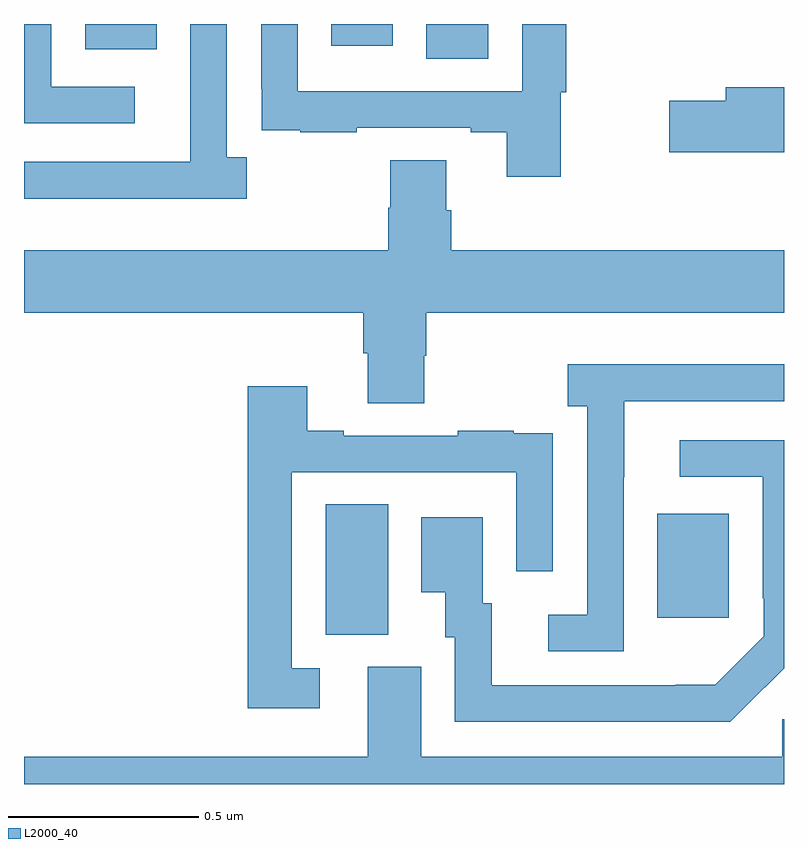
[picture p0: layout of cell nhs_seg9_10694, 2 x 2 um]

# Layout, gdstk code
import gdstk
lib = gdstk.Library(unit=1e-6, precision=1e-09)
def R(c, l, rs):  # rectangles x0, y0, x1, y1
    for r in rs: c.add(gdstk.rectangle(r[:2], r[2:], *l))
def P(c, l, *ps):  # polygons
    for p in ps: c.add(gdstk.Polygon(p, *l))
L2000_40 = (2000, 40)

nhs_seg9_10694 = lib.new_cell('nhs_seg9_10694')
R(nhs_seg9_10694, L2000_40, [(246.794,1208.893,246.958,1209.236), (247.667,1208.937,247.855,1209.211), (247.058,1210.408,247.222,1210.5), (246.161,1210.433,246.349,1210.5), (246.809,1210.443,246.97,1210.5)])
P(nhs_seg9_10694, L2000_40, [(246.292,1210.335),(246.072,1210.335),(246.072,1210.5),(246,1210.5),(246,1210.239),(246.292,1210.239)],
  [(246.586,1210.15),(246.534,1210.15),(246.534,1210.5),(246.438,1210.5),(246.438,1210.337),(246.437,1210.337),(246.437,1210.137),(246,1210.137),(246,1210.04),(246.586,1210.04)],
  [(247.412,1210.32),(247.427,1210.32),(247.427,1210.5),(247.311,1210.5),(247.311,1210.323),(246.72,1210.323),(246.72,1210.5),(246.624,1210.5),(246.624,1210.33),(246.625,1210.33),(246.625,1210.221),(246.727,1210.221),(246.727,1210.215),(246.875,1210.215),(246.875,1210.227),(247.175,1210.227),(247.175,1210.215),(247.271,1210.215),(247.271,1210.098),(247.412,1210.098)],
  [(248,1210.334),(247.847,1210.334),(247.847,1210.298),(247.698,1210.298),(247.698,1210.163),(248,1210.163)],
  [(247.053,1209.627),(247.058,1209.627),(247.058,1209.74),(248,1209.74),(248,1209.904),(247.124,1209.904),(247.124,1210.01),(247.111,1210.01),(247.111,1210.142),(246.964,1210.142),(246.964,1210.017),(246.959,1210.017),(246.959,1209.904),(246,1209.904),(246,1209.74),(246.893,1209.74),(246.893,1209.634),(246.905,1209.634),(246.905,1209.502),(247.053,1209.502)],
  [(247.578,1209.307),(247.579,1209.307),(247.579,1209.507),(248,1209.507),(248,1209.604),(247.431,1209.604),(247.431,1209.494),(247.482,1209.494),(247.482,1208.946),(247.38,1208.946),(247.38,1208.85),(247.578,1208.85)],
  [(246.778,1208.805),(246.705,1208.805),(246.705,1209.321),(247.296,1209.321),(247.296,1209.06),(247.392,1209.06),(247.392,1209.314),(247.391,1209.314),(247.391,1209.423),(247.289,1209.423),(247.289,1209.43),(247.141,1209.43),(247.141,1209.417),(246.841,1209.417),(246.841,1209.43),(246.745,1209.43),(246.745,1209.547),(246.589,1209.547),(246.589,1208.7),(246.778,1208.7)],
  [(247.949,1208.755),(247.95,1208.754),(248,1208.804),(248,1209.405),(247.725,1209.405),(247.725,1209.309),(247.944,1209.309),(247.944,1208.989),(247.947,1208.989),(247.947,1208.889),(247.819,1208.761),(247.715,1208.761),(247.715,1208.76),(247.231,1208.76),(247.231,1208.976),(247.207,1208.976),(247.207,1209.202),(247.046,1209.202),(247.046,1209.005),(247.109,1209.005),(247.109,1208.886),(247.134,1208.886),(247.134,1208.664),(247.858,1208.664)],
  [(246,1208.5),(248,1208.5),(248,1208.67),(247.995,1208.67),(247.995,1208.572),(247.045,1208.572),(247.045,1208.808),(246.905,1208.808),(246.905,1208.572),(246,1208.572)])

lib.write_gds('nhs_seg9_10694.gds')
